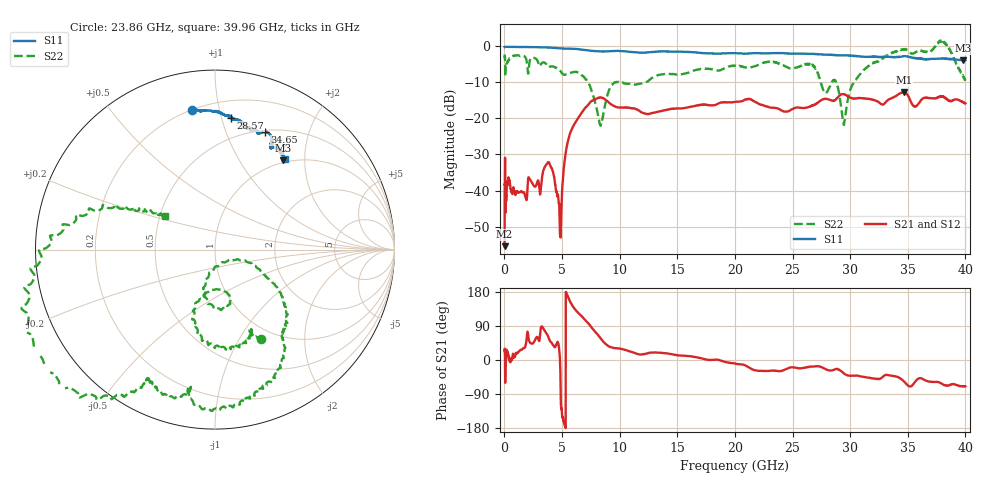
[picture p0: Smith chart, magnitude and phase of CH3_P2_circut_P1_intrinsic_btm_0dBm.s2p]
!Keysight Technologies,N5222B,MY61257109,A.17.25.03
!Date: Tuesday, July 21, 2026 19:40:52
!Correction: S11(C  2-Port  )
!S21(C  2-Port  )
!S12(C  2-Port  )
!S22(C  2-Port  )
!S2P File: Measurements: S11, S21, S12, S22:
# Hz S  dB  R 50
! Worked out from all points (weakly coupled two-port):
!   4000 points, 10 MHz to 40 GHz, reference 50 ohm
!   highest |S21| = -12.91 dB at 34.66 GHz (marker M1); lowest = -55.4 dB at 10 MHz (marker M2)
!   lowest |S11| = -4.1 dB at 39.82 GHz (marker M3), VSWR 4.33, Z = 48.2 + j78.6 ohm
!   |S11| at or under -10 dB: nowhere
!   |S22| runs from -22.1 to 1.4 dB; largest |S21 - S12| = 0.0025
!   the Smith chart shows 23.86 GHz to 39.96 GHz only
!   S11 on the Smith chart (normalised r, x): 23.86 GHz: 0.20, +0.83; 28.57 GHz: 0.33, +1.07; 34.65 GHz: 0.52, +1.38; 39.96 GHz: 0.94, +1.61
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1e7  -0.39 -179.7  -55.36 23.5  -56.07 30.9  -2.46 -54.5
5.2e8  -0.33 177.6  -39.32 -6.1  -39.32 -6.1  -3.33 168.5
1.65e9  -0.36 172.5  -40.49 31.6  -40.47 31.6  -2.81 104.7
3.83e9  -0.54 162.4  -32.19 58.5  -32.13 58.7  -5.96 41.8
4.8e9  -0.75 158.2  -50.40 9.3  -50.55 9.2  -6.81 19.5
5.5e9  -0.84 155.7  -26.44 167.7  -26.45 168.6  -7.81 18.7
6.68e9  -1.08 150.3  -18.67 115.6  -18.66 115.8  -8.10 -9.0
8.34e9  -1.64 146.5  -14.29 57.3  -14.25 57.3  -22.13 8.3
9.45e9  -1.46 144.0  -16.58 31.9  -16.58 31.8  -10.44 30.8
1.334e10  -1.63 133.0  -18.25 19.3  -18.25 19.3  -8.14 8.7
2.001e10  -2.09 111.5  -15.52 -9.4  -15.52 -9.0  -5.60 -30.8
2.386e10  -2.06 99.5  -17.55 -29.7  -17.54 -29.6  -4.98 -62.7
2.667e10  -2.25 89.5  -16.62 -17.5  -16.55 -17.5  -5.42 -89.4
2.857e10  -2.62 83.1  -15.24 -26.1  -15.18 -26.2  -9.67 -81.9
2.947e10  -2.67 80.7  -13.44 -35.8  -13.38 -35.5  -21.69 -57.9
3.334e10  -3.06 70.6  -14.90 -40.3  -14.87 -40.4  -2.41 -62.6
3.465e10  -2.93 67.0  -12.91 -55.8  -12.86 -55.9  -0.98 -88.2
3.466e10  -2.94 66.9  -12.91 -56.1  -12.85 -56.1  -0.97 -88.5
3.814e10  -3.51 57.3  -14.29 -66.0  -14.20 -66.1  0.87 -161.4
3.982e10  -4.08 52.7  -15.62 -69.2  -15.57 -69.2  -8.78 147.9
3.996e10  -3.90 52.4  -16.01 -69.2  -15.92 -69.5  -9.42 145.8
4e10  -4.01 53.0  -15.95 -69.4  -15.90 -69.5  -9.64 146.0
